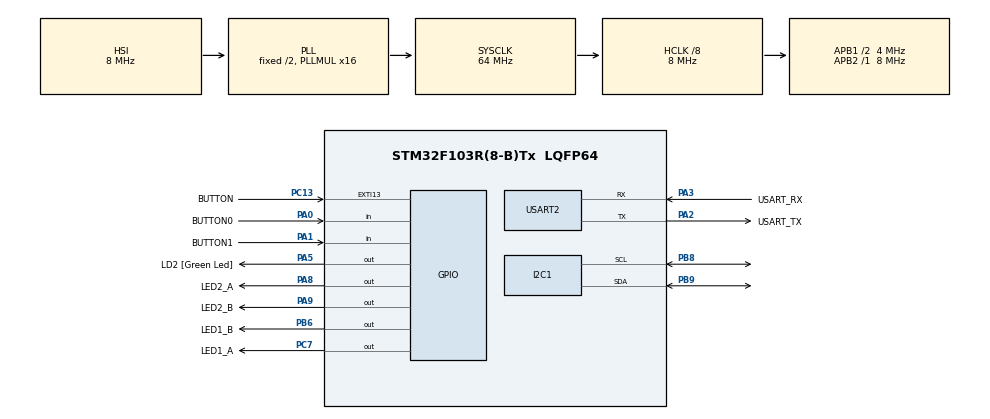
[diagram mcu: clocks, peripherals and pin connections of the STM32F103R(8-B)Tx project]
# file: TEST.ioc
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Mcu.Family=STM32F1
Mcu.Name=STM32F103R(8-B)Tx
Mcu.Package=LQFP64
NVIC.EXTI15_10_IRQn=true\:0\:0\:false\:false\:true\:true\:true
NVIC.PriorityGroup=NVIC_PRIORITYGROUP_4
NVIC.TIM2_IRQn=true\:0\:0\:false\:false\:true\:true\:true
PA0-WKUP.GPIO_Label=BUTTON0
PA0-WKUP.Signal=GPIO_Input
PA1.GPIO_Label=BUTTON1
PA1.Signal=GPIO_Input
PA13.GPIO_Label=TMS
PA13.Mode=Serial_Wire
PA13.Signal=SYS_JTMS-SWDIO
PA14.GPIO_Label=TCK
PA14.Mode=Serial_Wire
PA14.Signal=SYS_JTCK-SWCLK
PA2.GPIO_Label=USART_TX
PA2.GPIO_Mode=GPIO_MODE_AF_PP
PA2.GPIO_PuPd=GPIO_NOPULL
PA2.GPIO_Speed=GPIO_SPEED_FREQ_LOW
PA2.Mode=Asynchronous
PA2.Signal=USART2_TX
PA3.GPIO_Label=USART_RX
PA3.GPIO_Mode=GPIO_MODE_AF_PP
PA3.GPIO_PuPd=GPIO_NOPULL
PA3.GPIO_Speed=GPIO_SPEED_FREQ_LOW
PA3.Mode=Asynchronous
PA3.Signal=USART2_RX
PA5.GPIO_Label=LD2 [Green Led]
PA5.GPIO_ModeDefaultOutputPP=GPIO_MODE_OUTPUT_PP
PA5.GPIO_PuPd=GPIO_NOPULL
PA5.GPIO_Speed=GPIO_SPEED_FREQ_LOW
PA5.Signal=GPIO_Output
PA8.GPIO_Label=LED2_A
PA8.Signal=GPIO_Output
PA9.GPIO_Label=LED2_B
PA9.Signal=GPIO_Output
PB3.GPIO_Label=SWO
PB3.Signal=SYS_JTDO-TRACESWO
PB6.GPIO_Label=LED1_B
PB6.Signal=GPIO_Output
PB8.Mode=I2C
PB8.Signal=I2C1_SCL
PB9.Mode=I2C
PB9.Signal=I2C1_SDA
PC13-TAMPER-RTC.GPIO_Label=BUTTON
PC13-TAMPER-RTC.GPIO_PuPd=GPIO_NOPULL
PC13-TAMPER-RTC.Signal=GPXTI13
PC14-OSC32_IN.Mode=LSE-External-Oscillator
PC14-OSC32_IN.Signal=RCC_OSC32_IN
PC15-OSC32_OUT.Mode=LSE-External-Oscillator
PC15-OSC32_OUT.Signal=RCC_OSC32_OUT
PC7.GPIO_Label=LED1_A
PC7.Signal=GPIO_Output
PD0-OSC_IN.Mode=HSE-External-Clock-Source
PD0-OSC_IN.Signal=RCC_OSC_IN
PD1-OSC_OUT.Mode=HSE-External-Clock-Source
PD1-OSC_OUT.Signal=RCC_OSC_OUT
ProjectManager.HeapSize=0x200
ProjectManager.StackSize=0x400
ProjectManager.TargetToolchain=STM32CubeIDE
RCC.AHBCLKDivider=RCC_SYSCLK_DIV8
RCC.AHBFreq_Value=8000000
RCC.APB1CLKDivider=RCC_HCLK_DIV2
RCC.APB1Freq_Value=4000000
RCC.APB1TimFreq_Value=8000000
RCC.APB2Freq_Value=8000000
RCC.APB2TimFreq_Value=8000000
RCC.HCLKFreq_Value=8000000
RCC.PLLMUL=RCC_PLL_MUL16
RCC.RTCClockSelection=RCC_RTCCLKSOURCE_LSE
RCC.SYSCLKFreq_VALUE=64000000
RCC.SYSCLKSource=RCC_SYSCLKSOURCE_PLLCLK
RCC.USBFreq_Value=64000000
TIM2.Period=9
TIM2.Prescaler=7999
USART2.VirtualMode=VM_ASYNC
VP_TIM2_VS_ClockSourceINT.Mode=Internal
board=NUCLEO-F103RB

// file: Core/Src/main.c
/* USER CODE BEGIN Header */
/**
  ******************************************************************************
  * @file           : main.c
  * @brief          : Main program body
  ******************************************************************************
  * @attention
  *
  * <h2><center>&copy; Copyright (c) 2024 STMicroelectronics.
  * All rights reserved.</center></h2>
  *
  * This software component is licensed by ST under BSD 3-Clause license,
  * the "License"; You may not use this file except in compliance with the
  * License. You may obtain a copy of the License at:
  *                        opensource.org/licenses/BSD-3-Clause
  *
  ******************************************************************************
  */
/* USER CODE END Header */
#include "main.h"

/* USER CODE BEGIN Includes */
#include "global.h"
/* USER CODE END Includes */

I2C_HandleTypeDef hi2c1;

TIM_HandleTypeDef htim2;

UART_HandleTypeDef huart2;

void SystemClock_Config(void);
static void MX_GPIO_Init(void);
static void MX_USART2_UART_Init(void);
static void MX_TIM2_Init(void);
static void MX_I2C1_Init(void);

int main(void)
{

  /* MCU Configuration--------------------------------------------------------*/

  /* Reset of all peripherals, Initializes the Flash interface and the Systick. */
  HAL_Init();

  /* Configure the system clock */
  SystemClock_Config();

  /* Initialize all configured peripherals */
  MX_GPIO_Init();
  MX_USART2_UART_Init();
  MX_TIM2_Init();
  MX_I2C1_Init();
  /* USER CODE BEGIN 2 */
  HAL_TIM_Base_Start_IT(&htim2);
  /* USER CODE END 2 */

  /* Infinite loop */
  /* USER CODE BEGIN WHILE */
  SCH_Init();
  trafficlight_init();
  lcd_init();
  lcd_clear_display();
  lcd_goto_XY(1, 0);

  SCH_Add_Task(fsm_auto_run, 0, 100);
  SCH_Add_Task(fsm_setting_run, 1, 100);
  SCH_Add_Task(fsm_manual_run, 2, 100);
  SCH_Add_Task(counter_1s, 1010, 1000);

  while (1)
  {
	SCH_Dispatch_Tasks();
    /* USER CODE END WHILE */

  }
}

void SystemClock_Config(void)
{
  RCC_OscInitTypeDef RCC_OscInitStruct = {0};
  RCC_ClkInitTypeDef RCC_ClkInitStruct = {0};

  /** Initializes the RCC Oscillators according to the specified parameters
  * in the RCC_OscInitTypeDef structure.
  */
  RCC_OscInitStruct.OscillatorType = RCC_OSCILLATORTYPE_HSI;
  RCC_OscInitStruct.HSIState = RCC_HSI_ON;
  RCC_OscInitStruct.HSICalibrationValue = RCC_HSICALIBRATION_DEFAULT;
  RCC_OscInitStruct.PLL.PLLState = RCC_PLL_ON;
  RCC_OscInitStruct.PLL.PLLSource = RCC_PLLSOURCE_HSI_DIV2;
  RCC_OscInitStruct.PLL.PLLMUL = RCC_PLL_MUL16;
  if (HAL_RCC_OscConfig(&RCC_OscInitStruct) != HAL_OK)
  {
    Error_Handler();
  }
  /** Initializes the CPU, AHB and APB buses clocks
  */
  RCC_ClkInitStruct.ClockType = RCC_CLOCKTYPE_HCLK|RCC_CLOCKTYPE_SYSCLK
                              |RCC_CLOCKTYPE_PCLK1|RCC_CLOCKTYPE_PCLK2;
  RCC_ClkInitStruct.SYSCLKSource = RCC_SYSCLKSOURCE_PLLCLK;
  RCC_ClkInitStruct.AHBCLKDivider = RCC_SYSCLK_DIV8;
  RCC_ClkInitStruct.APB1CLKDivider = RCC_HCLK_DIV2;
  RCC_ClkInitStruct.APB2CLKDivider = RCC_HCLK_DIV1;

  if (HAL_RCC_ClockConfig(&RCC_ClkInitStruct, FLASH_LATENCY_2) != HAL_OK)
  {
    Error_Handler();
  }
}

static void MX_I2C1_Init(void)
{

  hi2c1.Instance = I2C1;
  hi2c1.Init.ClockSpeed = 100000;
  hi2c1.Init.DutyCycle = I2C_DUTYCYCLE_2;
  hi2c1.Init.OwnAddress1 = 0;
  hi2c1.Init.AddressingMode = I2C_ADDRESSINGMODE_7BIT;
  hi2c1.Init.DualAddressMode = I2C_DUALADDRESS_DISABLE;
  hi2c1.Init.OwnAddress2 = 0;
  hi2c1.Init.GeneralCallMode = I2C_GENERALCALL_DISABLE;
  hi2c1.Init.NoStretchMode = I2C_NOSTRETCH_DISABLE;
  if (HAL_I2C_Init(&hi2c1) != HAL_OK)
  {
    Error_Handler();
  }

}

static void MX_TIM2_Init(void)
{

  TIM_ClockConfigTypeDef sClockSourceConfig = {0};
  TIM_MasterConfigTypeDef sMasterConfig = {0};

  htim2.Instance = TIM2;
  htim2.Init.Prescaler = 7999;
  htim2.Init.CounterMode = TIM_COUNTERMODE_UP;
  htim2.Init.Period = 9;
  htim2.Init.ClockDivision = TIM_CLOCKDIVISION_DIV1;
  htim2.Init.AutoReloadPreload = TIM_AUTORELOAD_PRELOAD_DISABLE;
  if (HAL_TIM_Base_Init(&htim2) != HAL_OK)
  {
    Error_Handler();
  }
  sClockSourceConfig.ClockSource = TIM_CLOCKSOURCE_INTERNAL;
  if (HAL_TIM_ConfigClockSource(&htim2, &sClockSourceConfig) != HAL_OK)
  {
    Error_Handler();
  }
  sMasterConfig.MasterOutputTrigger = TIM_TRGO_RESET;
  sMasterConfig.MasterSlaveMode = TIM_MASTERSLAVEMODE_DISABLE;
  if (HAL_TIMEx_MasterConfigSynchronization(&htim2, &sMasterConfig) != HAL_OK)
  {
    Error_Handler();
  }

}

static void MX_USART2_UART_Init(void)
{

  huart2.Instance = USART2;
  huart2.Init.BaudRate = 115200;
  huart2.Init.WordLength = UART_WORDLENGTH_8B;
  huart2.Init.StopBits = UART_STOPBITS_1;
  huart2.Init.Parity = UART_PARITY_NONE;
  huart2.Init.Mode = UART_MODE_TX_RX;
  huart2.Init.HwFlowCtl = UART_HWCONTROL_NONE;
  huart2.Init.OverSampling = UART_OVERSAMPLING_16;
  if (HAL_UART_Init(&huart2) != HAL_OK)
  {
    Error_Handler();
  }

}

static void MX_GPIO_Init(void)
{
  GPIO_InitTypeDef GPIO_InitStruct = {0};

  /* GPIO Ports Clock Enable */
  __HAL_RCC_GPIOC_CLK_ENABLE();
  __HAL_RCC_GPIOD_CLK_ENABLE();
  __HAL_RCC_GPIOA_CLK_ENABLE();
  __HAL_RCC_GPIOB_CLK_ENABLE();

  /*Configure GPIO pin Output Level */
  HAL_GPIO_WritePin(GPIOA, LD2_Pin|LED2_A_Pin|LED2_B_Pin, GPIO_PIN_RESET);

  /*Configure GPIO pin Output Level */
  HAL_GPIO_WritePin(LED1_A_GPIO_Port, LED1_A_Pin, GPIO_PIN_RESET);

  /*Configure GPIO pin Output Level */
  HAL_GPIO_WritePin(LED1_B_GPIO_Port, LED1_B_Pin, GPIO_PIN_RESET);

  /*Configure GPIO pin : BUTTON_Pin */
  GPIO_InitStruct.Pin = BUTTON_Pin;
  GPIO_InitStruct.Mode = GPIO_MODE_IT_RISING;
  GPIO_InitStruct.Pull = GPIO_NOPULL;
  HAL_GPIO_Init(BUTTON_GPIO_Port, &GPIO_InitStruct);

  /*Configure GPIO pins : BUTTON0_Pin BUTTON1_Pin */
  GPIO_InitStruct.Pin = BUTTON0_Pin|BUTTON1_Pin;
  GPIO_InitStruct.Mode = GPIO_MODE_INPUT;
  GPIO_InitStruct.Pull = GPIO_NOPULL;
  HAL_GPIO_Init(GPIOA, &GPIO_InitStruct);

  /*Configure GPIO pins : LD2_Pin LED2_A_Pin LED2_B_Pin */
  GPIO_InitStruct.Pin = LD2_Pin|LED2_A_Pin|LED2_B_Pin;
  GPIO_InitStruct.Mode = GPIO_MODE_OUTPUT_PP;
  GPIO_InitStruct.Pull = GPIO_NOPULL;
  GPIO_InitStruct.Speed = GPIO_SPEED_FREQ_LOW;
  HAL_GPIO_Init(GPIOA, &GPIO_InitStruct);

  /*Configure GPIO pin : LED1_A_Pin */
  GPIO_InitStruct.Pin = LED1_A_Pin;
  GPIO_InitStruct.Mode = GPIO_MODE_OUTPUT_PP;
  GPIO_InitStruct.Pull = GPIO_NOPULL;
  GPIO_InitStruct.Speed = GPIO_SPEED_FREQ_LOW;
  HAL_GPIO_Init(LED1_A_GPIO_Port, &GPIO_InitStruct);

  /*Configure GPIO pin : LED1_B_Pin */
  GPIO_InitStruct.Pin = LED1_B_Pin;
  GPIO_InitStruct.Mode = GPIO_MODE_OUTPUT_PP;
  GPIO_InitStruct.Pull = GPIO_NOPULL;
  GPIO_InitStruct.Speed = GPIO_SPEED_FREQ_LOW;
  HAL_GPIO_Init(LED1_B_GPIO_Port, &GPIO_InitStruct);

  /* EXTI interrupt init*/
  HAL_NVIC_SetPriority(EXTI15_10_IRQn, 0, 0);
  HAL_NVIC_EnableIRQ(EXTI15_10_IRQn);

}

/* USER CODE BEGIN 4 */
void HAL_TIM_PeriodElapsedCallback(TIM_HandleTypeDef *htim){
	 SCH_Update();
	 getKeyInput();
}
/* USER CODE END 4 */

void Error_Handler(void)
{
  __disable_irq();
  while (1)
  {
  }
}

/************************ (C) COPYRIGHT STMicroelectronics *****END OF FILE****/
